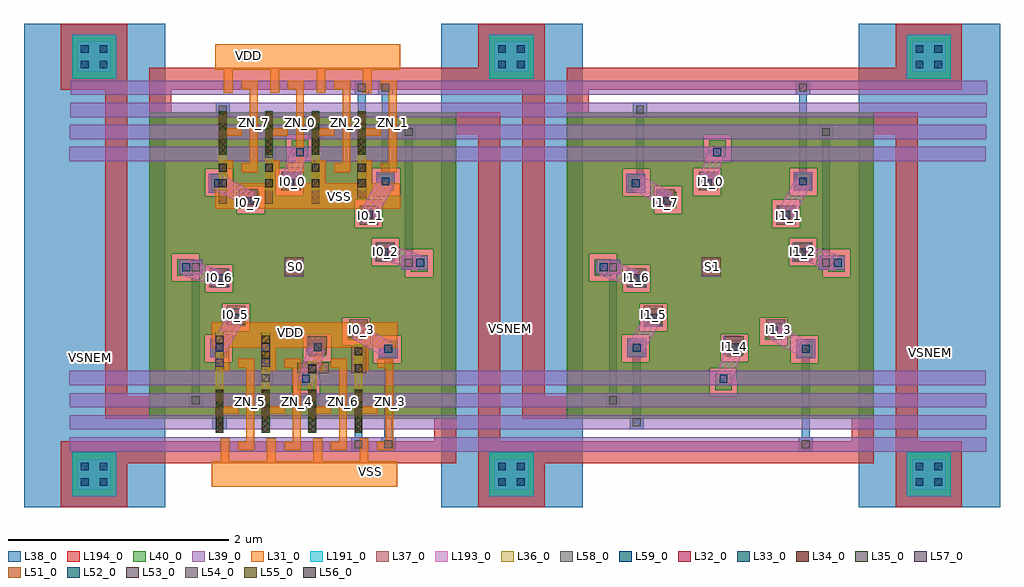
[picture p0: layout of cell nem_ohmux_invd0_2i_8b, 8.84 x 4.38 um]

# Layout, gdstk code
import gdstk
lib = gdstk.Library(unit=1e-6, precision=1e-09)
def R(c, l, rs):  # rectangles x0, y0, x1, y1
    for r in rs: c.add(gdstk.rectangle(r[:2], r[2:], *l))
def A(c, l, x, y, w, h, nx, ny, dx, dy):  # array of equal rectangles
    R(c, l, [(x+i*dx, y+j*dy, x+i*dx+w, y+j*dy+h) for i in range(nx) for j in range(ny)])
def P(c, l, *ps):  # polygons
    for p in ps: c.add(gdstk.Polygon(p, *l))
L31_0 = (31, 0)
L32_0 = (32, 0)
L33_0 = (33, 0)
L34_0 = (34, 0)
L35_0 = (35, 0)
L36_0 = (36, 0)
L37_0 = (37, 0)
L38_0 = (38, 0)
L39_0 = (39, 0)
L40_0 = (40, 0)
L51_0 = (51, 0)
L52_0 = (52, 0)
L53_0 = (53, 0)
L54_0 = (54, 0)
L55_0 = (55, 0)
L56_0 = (56, 0)
L57_0 = (57, 0)
L58_0 = (58, 0)
L59_0 = (59, 0)
L191_0 = (191, 0)
L193_0 = (193, 0)
L194_0 = (194, 0)

top = lib.new_cell('TOP')
R(top, L40_0, [(-2.09,-2.09,-1.69,-1.69), (1.69,-2.09,2.09,-1.69), (-0.046,-1.129,0.104,-0.979), (0.69,-0.836,0.84,-0.686), (-0.84,-0.827,-0.69,-0.677), (0.056,-0.822,0.206,-0.672), (0.408,-0.673,0.558,-0.523), (-0.68,-0.547,-0.53,-0.397), (-0.833,-0.192,-0.683,-0.042), (-1.137,-0.094,-0.987,0.056), (0.98,-0.055,1.13,0.095), (0.675,0.046,0.825,0.196), (0.522,0.394,0.672,0.544), (-0.546,0.518,-0.396,0.668), (-0.832,0.676,-0.682,0.826), (-0.195,0.68,-0.045,0.83), (0.681,0.683,0.831,0.833), (-0.099,0.983,0.051,1.133), (-2.09,1.69,-1.69,2.09), (1.69,1.69,2.09,2.09)])
P(top, L40_0, [(-1.39,-1.39),(-1.39,-0.929),(-0.096,-0.929),(-0.096,-1.179),(0.154,-1.179),(0.154,-1.03),(0.145,-1.03),(0.145,-0.93),(0.154,-0.93),(0.154,-0.929),(-1.39,-0.929),(-1.39,-0.627),(-0.89,-0.627),(-0.89,-0.877),(-0.64,-0.877),(-0.64,-0.627),(-1.39,-0.627),(-1.39,-0.622),(0.006,-0.622),(0.006,-0.872),(0.256,-0.872),(0.256,-0.622),(-1.39,-0.622),(-1.39,-0.347),(-0.73,-0.347),(-0.73,-0.597),(-0.48,-0.597),(-0.48,-0.473),(0.358,-0.473),(0.358,-0.723),(0.608,-0.723),(0.608,-0.636),(0.64,-0.636),(0.64,-0.886),(0.89,-0.886),(0.89,-0.636),(0.608,-0.636),(0.608,-0.473),(-0.48,-0.473),(-0.48,-0.347),(-1.39,-0.347),(-1.39,0.106),(-1.187,0.106),(-1.187,-0.144),(-0.937,-0.144),(-0.937,0.008),(-0.883,0.008),(-0.883,-0.242),(-0.633,-0.242),(-0.633,0.008),(-0.937,0.008),(-0.937,0.106),(-1.39,0.106),(-1.39,0.246),(0.625,0.246),(0.625,-0.004),(0.875,-0.004),(0.875,0.145),(0.93,0.145),(0.93,-0.105),(1.18,-0.105),(1.18,0.145),(0.875,0.145),(0.875,0.246),(-1.39,0.246),(-1.39,0.876),(-0.882,0.876),(-0.882,0.626),(-0.632,0.626),(-0.632,0.718),(-0.596,0.718),(-0.596,0.468),(-0.346,0.468),(-0.346,0.594),(0.472,0.594),(0.472,0.344),(0.722,0.344),(0.722,0.594),(-0.346,0.594),(-0.346,0.718),(-0.632,0.718),(-0.632,0.876),(-1.39,0.876),(-1.39,0.88),(-0.245,0.88),(-0.245,0.63),(0.005,0.63),(0.005,0.88),(-1.39,0.88),(-1.39,0.883),(0.631,0.883),(0.631,0.633),(0.881,0.633),(0.881,0.883),(-1.39,0.883),(-1.39,1.183),(-0.149,1.183),(-0.149,1.03),(-0.145,1.03),(-0.145,0.933),(0.101,0.933),(0.101,1.183),(-1.39,1.183),(-1.39,1.39),(1.39,1.39),(1.39,-1.39)])
R(top, L191_0, [(-2.09,-2.09,-1.69,-1.69), (1.69,-2.09,2.09,-1.69), (-2.09,1.69,-1.69,2.09), (1.69,1.69,2.09,2.09)])
P(top, L193_0, [(-0.507,0.528),(-0.793,0.685),(-0.721,0.816),(-0.435,0.659)],
  [(-0.049,0.732),(-0.192,0.777),(-0.095,1.08),(0.048,1.035)],
  [(0.664,0.433),(0.532,0.505),(0.69,0.793),(0.822,0.721)],
  [(1.032,-0.051),(0.727,0.05),(0.774,0.193),(1.079,0.092)],
  [(0.727,-0.825),(0.446,-0.663),(0.521,-0.533),(0.802,-0.695)],
  [(0.1,-1.076),(-0.042,-1.029),(0.06,-0.724),(0.202,-0.771)],
  [(-0.7,-0.789),(-0.83,-0.715),(-0.67,-0.435),(-0.54,-0.509)],
  [(-0.782,-0.188),(-1.084,-0.091),(-1.038,0.052),(-0.736,-0.045)])
P(top, L194_0, [(-2.19,-2.19),(-2.19,-1.59),(1.19,-1.59),(1.19,-1.39),(-1.79,-1.39),(-1.79,1.59),(-2.19,1.59),(-2.19,2.19),(-1.59,2.19),(-1.59,-1.19),(-1.39,-1.19),(-1.39,1.79),(1.59,1.79),(1.59,2.19),(2.19,2.19),(2.19,1.59),(-1.19,1.59),(-1.19,1.39),(1.79,1.39),(1.79,-1.59),(2.19,-1.59),(2.19,-2.19),(1.59,-2.19),(1.59,1.19),(1.39,1.19),(1.39,-1.79),(-1.59,-1.79),(-1.59,-2.19)])

invd0bwp = lib.new_cell('INVD0BWP')
R(invd0bwp, L31_0, [(0,-0.115,0.08,0.115), (0.08,-0.115,0.16,0.325), (0.16,-0.115,0.42,0.115), (0.24,0.215,0.315,0.295), (0.315,0.215,0.385,1.045), (0.035,0.495,0.105,0.765), (0.105,0.545,0.24,0.615), (0.08,0.935,0.16,1.375), (0.24,0.965,0.315,1.045), (0,1.145,0.08,1.375), (0.16,1.145,0.42,1.375)])
invd0bwp.add(gdstk.Label('VDD', (0,1.145), layer=230, texttype=0))
invd0bwp.add(gdstk.Label('VDD', (0.08,0.935), layer=230, texttype=0))
invd0bwp.add(gdstk.Label('VDD', (0.16,1.145), layer=230, texttype=0))
invd0bwp.add(gdstk.Label('VSS', (0,-0.115), layer=230, texttype=0))
invd0bwp.add(gdstk.Label('VSS', (0.08,-0.115), layer=230, texttype=0))
invd0bwp.add(gdstk.Label('VSS', (0.16,-0.115), layer=230, texttype=0))
invd0bwp.add(gdstk.Label('I', (0.035,0.495), layer=230, texttype=0))
invd0bwp.add(gdstk.Label('I', (0.105,0.545), layer=230, texttype=0))
invd0bwp.add(gdstk.Label('ZN', (0.24,0.965), layer=230, texttype=0))
invd0bwp.add(gdstk.Label('ZN', (0.24,0.215), layer=230, texttype=0))
invd0bwp.add(gdstk.Label('ZN', (0.315,0.215), layer=230, texttype=0))

m9_m8_cdns_610855237610 = lib.new_cell('M9_M8_CDNS_610855237610')
R(m9_m8_cdns_610855237610, L38_0, [(-0.085,-0.085,0.085,0.085)])
R(m9_m8_cdns_610855237610, L39_0, [(-0.085,-0.085,0.085,0.085)])
R(m9_m8_cdns_610855237610, L58_0, [(-0.035,-0.035,0.035,0.035)])

m10_m9_cdns_610855237611 = lib.new_cell('M10_M9_CDNS_610855237611')
R(m10_m9_cdns_610855237611, L39_0, [(-0.085,-0.085,0.085,0.085)])
R(m10_m9_cdns_610855237611, L40_0, [(-0.065,-0.065,0.065,0.065)])
R(m10_m9_cdns_610855237611, L59_0, [(-0.035,-0.035,0.035,0.035)])

m8_m7_cdns_610855237612 = lib.new_cell('M8_M7_CDNS_610855237612')
R(m8_m7_cdns_610855237612, L37_0, [(-0.065,-0.065,0.065,0.065)])
R(m8_m7_cdns_610855237612, L38_0, [(-0.085,-0.085,0.085,0.085)])
R(m8_m7_cdns_610855237612, L57_0, [(-0.035,-0.035,0.035,0.035)])

m10_m9_cdns_610855237613 = lib.new_cell('M10_M9_CDNS_610855237613')
R(m10_m9_cdns_610855237613, L39_0, [(-0.065,-0.065,0.065,0.065)])
R(m10_m9_cdns_610855237613, L40_0, [(-0.065,-0.065,0.065,0.065)])
R(m10_m9_cdns_610855237613, L59_0, [(-0.035,-0.035,0.035,0.035)])

m9_m8_cdns_610855237614 = lib.new_cell('M9_M8_CDNS_610855237614')
R(m9_m8_cdns_610855237614, L38_0, [(-0.065,-0.065,0.065,0.065)])
R(m9_m8_cdns_610855237614, L39_0, [(-0.065,-0.065,0.065,0.065)])
R(m9_m8_cdns_610855237614, L58_0, [(-0.035,-0.035,0.035,0.035)])

m9_m8_cdns_610855237615 = lib.new_cell('M9_M8_CDNS_610855237615')
R(m9_m8_cdns_610855237615, L38_0, [(-0.065,-0.065,0.065,0.065)])
R(m9_m8_cdns_610855237615, L39_0, [(-0.085,-0.085,0.085,0.085)])
R(m9_m8_cdns_610855237615, L58_0, [(-0.035,-0.035,0.035,0.035)])

m8_m7_cdns_610855237616 = lib.new_cell('M8_M7_CDNS_610855237616')
R(m8_m7_cdns_610855237616, L37_0, [(-0.065,-0.065,0.065,0.065)])
R(m8_m7_cdns_610855237616, L38_0, [(-0.065,-0.065,0.065,0.065)])
R(m8_m7_cdns_610855237616, L57_0, [(-0.035,-0.035,0.035,0.035)])

nem_ohmux_invd0_2i_8b = lib.new_cell('nem_ohmux_invd0_2i_8b')
A(nem_ohmux_invd0_2i_8b, L31_0, 2.015, 0.91, 0.07, 0.07, 4, 1, 0.42, 0)
A(nem_ohmux_invd0_2i_8b, L31_0, 2.045, 3.435, 0.07, 0.07, 4, 1, 0.42, 0)
R(nem_ohmux_invd0_2i_8b, L31_0, [(1.7,0.185,3.38,0.415), (1.7,1.445,3.38,1.675), (1.73,2.705,3.41,2.935), (1.73,3.965,3.41,4.195)])
A(nem_ohmux_invd0_2i_8b, L32_0, 1.735, 0.675, 0.07, 0.39, 4, 1, 0.42, 0)
A(nem_ohmux_invd0_2i_8b, L32_0, 1.765, 3.195, 0.07, 0.39, 4, 1, 0.42, 0)
A(nem_ohmux_invd0_2i_8b, L33_0, 1.735, 0.675, 0.07, 0.39, 4, 1, 0.42, 0)
A(nem_ohmux_invd0_2i_8b, L33_0, 1.765, 3.195, 0.07, 0.39, 4, 1, 0.42, 0)
A(nem_ohmux_invd0_2i_8b, L34_0, 1.735, 0.675, 0.07, 0.39, 4, 1, 0.42, 0)
A(nem_ohmux_invd0_2i_8b, L34_0, 1.765, 3.195, 0.07, 0.39, 4, 1, 0.42, 0)
A(nem_ohmux_invd0_2i_8b, L35_0, 1.735, 0.675, 0.07, 0.39, 4, 1, 0.42, 0)
A(nem_ohmux_invd0_2i_8b, L35_0, 1.765, 3.195, 0.07, 0.39, 4, 1, 0.42, 0)
A(nem_ohmux_invd0_2i_8b, L36_0, 1.765, 2.87, 0.07, 0.715, 4, 1, 0.42, 0)
R(nem_ohmux_invd0_2i_8b, L36_0, [(1.735,0.795,1.805,1.585), (2.155,0.795,2.225,1.585), (2.575,0.795,2.645,1.325), (2.995,0.795,3.065,1.475)])
A(nem_ohmux_invd0_2i_8b, L37_0, 1.765, 2.75, 0.07, 0.39, 3, 1, 0.42, 0)
R(nem_ohmux_invd0_2i_8b, L37_0, [(2.475,1.215,2.76,1.31), (2.965,1.215,3.1,1.455), (1.73,1.245,1.81,1.585), (2.15,1.245,2.23,1.585), (2.57,1.38,2.74,1.55), (6.35,1.38,6.52,1.55), (2.945,1.535,3.115,1.705), (6.725,1.535,6.895,1.705), (1.835,1.655,2.005,1.825), (5.615,1.655,5.785,1.825), (1.68,1.995,1.85,2.165), (5.46,1.995,5.63,2.165), (2.36,2.095,2.53,2.265), (6.14,2.095,6.31,2.265), (3.19,2.23,3.36,2.4), (6.97,2.23,7.14,2.4), (3.04,2.56,3.21,2.73), (6.82,2.56,6.99,2.73), (1.945,2.71,2.115,2.88), (5.725,2.71,5.895,2.88), (3.02,2.8,3.1,3.14), (2.335,2.87,2.505,3.04), (6.115,2.87,6.285,3.04)])
R(nem_ohmux_invd0_2i_8b, L38_0, [(0,0,1.28,4.38), (3.78,0,5.06,4.38), (3.78,0,5.06,4.38), (7.56,0,8.84,4.38), (2.995,0.505,3.065,1.465), (3.265,0.505,3.335,1.4), (7.045,0.505,7.115,1.4), (1.735,0.705,1.805,1.41), (5.515,0.705,5.585,1.41), (1.52,0.905,1.59,2.14), (5.3,0.905,5.37,2.14), (2.575,1.035,2.645,1.315), (2.155,1.105,2.225,1.515), (2.555,1.385,2.725,1.555), (6.335,1.385,6.505,1.555), (2.945,1.535,3.115,1.705), (6.725,1.535,6.895,1.705), (3.45,2.25,3.52,3.365), (7.23,2.25,7.3,3.365), (1.945,2.71,2.115,2.88), (5.725,2.71,5.895,2.88), (1.765,2.87,1.835,3.665), (2.185,2.87,2.255,3.265), (2.335,2.87,2.505,3.04), (2.605,2.87,2.675,3.465), (3.025,2.87,3.095,3.865), (5.545,2.87,5.615,3.665), (6.115,2.87,6.285,3.04), (3.24,2.985,3.31,3.865), (7.02,2.985,7.09,3.865)])
A(nem_ohmux_invd0_2i_8b, L39_0, 0.415, 0.505, 4.52, 0.13, 1, 3, 0, 0.2)
A(nem_ohmux_invd0_2i_8b, L39_0, 4.195, 0.505, 4.52, 0.13, 1, 3, 0, 0.2)
R(nem_ohmux_invd0_2i_8b, L39_0, [(0.485,0.165,0.785,0.435), (4.265,0.165,4.565,0.435), (4.265,0.165,4.565,0.435), (8.045,0.165,8.345,0.435), (0.41,1.105,4.93,1.235), (4.19,1.105,8.71,1.235), (2.555,1.385,2.725,1.555), (6.335,1.385,6.505,1.555), (2.945,1.535,3.115,1.705), (6.725,1.535,6.895,1.705), (1.945,2.71,2.115,2.88), (5.725,2.71,5.895,2.88), (2.335,2.87,2.505,3.04), (6.115,2.87,6.285,3.04), (0.41,3.135,4.93,3.265), (4.19,3.135,8.71,3.265), (0.415,3.335,4.935,3.465), (4.195,3.335,8.715,3.465), (0.42,3.535,4.94,3.665), (4.2,3.535,8.72,3.665), (0.425,3.735,4.945,3.865), (4.205,3.735,8.725,3.865), (0.485,3.945,0.785,4.215), (4.265,3.945,4.565,4.215), (4.265,3.945,4.565,4.215), (8.045,3.945,8.345,4.215)])
A(nem_ohmux_invd0_2i_8b, L51_0, 1.735, 0.825, 0.07, 0.07, 4, 2, 0.42, 0.14)
A(nem_ohmux_invd0_2i_8b, L51_0, 1.765, 3.345, 0.07, 0.07, 4, 2, 0.42, 0.14)
A(nem_ohmux_invd0_2i_8b, L52_0, 1.735, 0.825, 0.07, 0.07, 4, 2, 0.42, 0.14)
A(nem_ohmux_invd0_2i_8b, L52_0, 1.765, 3.345, 0.07, 0.07, 4, 2, 0.42, 0.14)
A(nem_ohmux_invd0_2i_8b, L53_0, 1.735, 0.825, 0.07, 0.07, 4, 2, 0.42, 0.14)
A(nem_ohmux_invd0_2i_8b, L53_0, 1.765, 3.345, 0.07, 0.07, 4, 2, 0.42, 0.14)
A(nem_ohmux_invd0_2i_8b, L54_0, 1.735, 0.825, 0.07, 0.07, 4, 2, 0.42, 0.14)
A(nem_ohmux_invd0_2i_8b, L54_0, 1.765, 3.345, 0.07, 0.07, 4, 2, 0.42, 0.14)
A(nem_ohmux_invd0_2i_8b, L55_0, 1.735, 0.825, 0.07, 0.07, 4, 2, 0.42, 0.14)
A(nem_ohmux_invd0_2i_8b, L55_0, 1.765, 3.345, 0.07, 0.07, 4, 2, 0.42, 0.14)
A(nem_ohmux_invd0_2i_8b, L56_0, 1.765, 2.9, 0.07, 0.07, 4, 2, 0.42, 0.14)
R(nem_ohmux_invd0_2i_8b, L56_0, [(2.575,1.225,2.645,1.295), (2.995,1.225,3.065,1.295), (2.155,1.345,2.225,1.415), (2.995,1.375,3.065,1.445), (1.735,1.485,1.805,1.555), (2.155,1.485,2.225,1.555)])
A(nem_ohmux_invd0_2i_8b, L57_0, 1.765, 2.9, 0.07, 0.07, 4, 2, 0.42, 0.14)
R(nem_ohmux_invd0_2i_8b, L57_0, [(2.575,1.215,2.645,1.285), (2.995,1.225,3.065,1.295), (1.735,1.275,1.805,1.345), (2.155,1.275,2.225,1.345), (2.995,1.375,3.065,1.445), (1.735,1.415,1.805,1.485), (2.155,1.415,2.225,1.485)])
R(nem_ohmux_invd0_2i_8b, L59_0, [(2.52,1.13,2.59,1.2), (6.3,1.13,6.37,1.2), (2.465,3.18,2.535,3.25), (6.245,3.18,6.315,3.25)])
nem_ohmux_invd0_2i_8b.add(gdstk.Reference(top, (6.305,2.19)))
nem_ohmux_invd0_2i_8b.add(gdstk.Reference(top, (2.525,2.19)))
nem_ohmux_invd0_2i_8b.add(gdstk.Reference(invd0bwp, (2.96,0.3)))
nem_ohmux_invd0_2i_8b.add(gdstk.Reference(invd0bwp, (2.54,0.3)))
nem_ohmux_invd0_2i_8b.add(gdstk.Reference(invd0bwp, (1.7,0.3)))
nem_ohmux_invd0_2i_8b.add(gdstk.Reference(invd0bwp, (2.12,0.3)))
nem_ohmux_invd0_2i_8b.add(gdstk.Reference(invd0bwp, (1.73,2.82)))
nem_ohmux_invd0_2i_8b.add(gdstk.Reference(invd0bwp, (2.15,2.82)))
nem_ohmux_invd0_2i_8b.add(gdstk.Reference(invd0bwp, (2.57,2.82)))
nem_ohmux_invd0_2i_8b.add(gdstk.Reference(invd0bwp, (2.99,2.82)))
nem_ohmux_invd0_2i_8b.add(gdstk.Reference(m9_m8_cdns_610855237610, (5.555,2.075)))
nem_ohmux_invd0_2i_8b.add(gdstk.Reference(m9_m8_cdns_610855237610, (5.7,1.72)))
nem_ohmux_invd0_2i_8b.add(gdstk.Reference(m9_m8_cdns_610855237610, (6.225,2.175)))
nem_ohmux_invd0_2i_8b.add(gdstk.Reference(m9_m8_cdns_610855237610, (7.045,2.31)))
nem_ohmux_invd0_2i_8b.add(gdstk.Reference(m9_m8_cdns_610855237610, (6.905,2.65)))
nem_ohmux_invd0_2i_8b.add(gdstk.Reference(m9_m8_cdns_610855237610, (2.445,2.175)))
nem_ohmux_invd0_2i_8b.add(gdstk.Reference(m9_m8_cdns_610855237610, (1.775,2.075)))
nem_ohmux_invd0_2i_8b.add(gdstk.Reference(m9_m8_cdns_610855237610, (1.92,1.72)))
nem_ohmux_invd0_2i_8b.add(gdstk.Reference(m9_m8_cdns_610855237610, (3.265,2.31)))
nem_ohmux_invd0_2i_8b.add(gdstk.Reference(m9_m8_cdns_610855237610, (3.125,2.65)))
nem_ohmux_invd0_2i_8b.add(gdstk.Reference(m10_m9_cdns_610855237611, (5.555,2.075)))
nem_ohmux_invd0_2i_8b.add(gdstk.Reference(m10_m9_cdns_610855237611, (5.7,1.72)))
nem_ohmux_invd0_2i_8b.add(gdstk.Reference(m10_m9_cdns_610855237611, (6.225,2.175)))
nem_ohmux_invd0_2i_8b.add(gdstk.Reference(m10_m9_cdns_610855237611, (7.045,2.31)))
nem_ohmux_invd0_2i_8b.add(gdstk.Reference(m10_m9_cdns_610855237611, (6.905,2.65)))
nem_ohmux_invd0_2i_8b.add(gdstk.Reference(m10_m9_cdns_610855237611, (5.54,2.935)))
nem_ohmux_invd0_2i_8b.add(gdstk.Reference(m10_m9_cdns_610855237611, (7.08,1.435)))
nem_ohmux_invd0_2i_8b.add(gdstk.Reference(m10_m9_cdns_610855237611, (7.055,2.95)))
nem_ohmux_invd0_2i_8b.add(gdstk.Reference(m10_m9_cdns_610855237611, (5.55,1.445)))
nem_ohmux_invd0_2i_8b.add(gdstk.Reference(m10_m9_cdns_610855237611, (2.445,2.175)))
nem_ohmux_invd0_2i_8b.add(gdstk.Reference(m10_m9_cdns_610855237611, (1.76,2.935)))
nem_ohmux_invd0_2i_8b.add(gdstk.Reference(m10_m9_cdns_610855237611, (3.275,2.95)))
nem_ohmux_invd0_2i_8b.add(gdstk.Reference(m10_m9_cdns_610855237611, (1.77,1.445)))
nem_ohmux_invd0_2i_8b.add(gdstk.Reference(m10_m9_cdns_610855237611, (3.3,1.435)))
nem_ohmux_invd0_2i_8b.add(gdstk.Reference(m10_m9_cdns_610855237611, (1.775,2.075)))
nem_ohmux_invd0_2i_8b.add(gdstk.Reference(m10_m9_cdns_610855237611, (1.92,1.72)))
nem_ohmux_invd0_2i_8b.add(gdstk.Reference(m10_m9_cdns_610855237611, (3.265,2.31)))
nem_ohmux_invd0_2i_8b.add(gdstk.Reference(m10_m9_cdns_610855237611, (3.125,2.65)))
nem_ohmux_invd0_2i_8b.add(gdstk.Reference(m8_m7_cdns_610855237612, (5.7,1.72)))
nem_ohmux_invd0_2i_8b.add(gdstk.Reference(m8_m7_cdns_610855237612, (5.555,2.075)))
nem_ohmux_invd0_2i_8b.add(gdstk.Reference(m8_m7_cdns_610855237612, (6.225,2.175)))
nem_ohmux_invd0_2i_8b.add(gdstk.Reference(m8_m7_cdns_610855237612, (7.045,2.31)))
nem_ohmux_invd0_2i_8b.add(gdstk.Reference(m8_m7_cdns_610855237612, (6.905,2.65)))
nem_ohmux_invd0_2i_8b.add(gdstk.Reference(m8_m7_cdns_610855237612, (2.445,2.175)))
nem_ohmux_invd0_2i_8b.add(gdstk.Reference(m8_m7_cdns_610855237612, (1.775,2.075)))
nem_ohmux_invd0_2i_8b.add(gdstk.Reference(m8_m7_cdns_610855237612, (1.92,1.72)))
nem_ohmux_invd0_2i_8b.add(gdstk.Reference(m8_m7_cdns_610855237612, (3.265,2.31)))
nem_ohmux_invd0_2i_8b.add(gdstk.Reference(m8_m7_cdns_610855237612, (3.125,2.65)))
nem_ohmux_invd0_2i_8b.add(gdstk.Reference(m10_m9_cdns_610855237613, (5.825,2.775)))
nem_ohmux_invd0_2i_8b.add(gdstk.Reference(m10_m9_cdns_610855237613, (6.44,1.45)))
nem_ohmux_invd0_2i_8b.add(gdstk.Reference(m10_m9_cdns_610855237613, (6.195,2.935)))
nem_ohmux_invd0_2i_8b.add(gdstk.Reference(m10_m9_cdns_610855237613, (6.79,1.6)))
nem_ohmux_invd0_2i_8b.add(gdstk.Reference(m10_m9_cdns_610855237613, (4.33,4.01)))
nem_ohmux_invd0_2i_8b.add(gdstk.Reference(m10_m9_cdns_610855237613, (4.33,4.15)))
nem_ohmux_invd0_2i_8b.add(gdstk.Reference(m10_m9_cdns_610855237613, (4.33,0.37)))
nem_ohmux_invd0_2i_8b.add(gdstk.Reference(m10_m9_cdns_610855237613, (4.33,0.23)))
nem_ohmux_invd0_2i_8b.add(gdstk.Reference(m10_m9_cdns_610855237613, (4.5,4.15)))
nem_ohmux_invd0_2i_8b.add(gdstk.Reference(m10_m9_cdns_610855237613, (5.25,2.175)))
nem_ohmux_invd0_2i_8b.add(gdstk.Reference(m10_m9_cdns_610855237613, (4.5,0.37)))
nem_ohmux_invd0_2i_8b.add(gdstk.Reference(m10_m9_cdns_610855237613, (4.5,0.23)))
nem_ohmux_invd0_2i_8b.add(gdstk.Reference(m10_m9_cdns_610855237613, (4.5,4.01)))
nem_ohmux_invd0_2i_8b.add(gdstk.Reference(m10_m9_cdns_610855237613, (7.37,2.215)))
nem_ohmux_invd0_2i_8b.add(gdstk.Reference(m10_m9_cdns_610855237613, (8.11,0.23)))
nem_ohmux_invd0_2i_8b.add(gdstk.Reference(m10_m9_cdns_610855237613, (8.11,0.37)))
nem_ohmux_invd0_2i_8b.add(gdstk.Reference(m10_m9_cdns_610855237613, (8.11,4.15)))
nem_ohmux_invd0_2i_8b.add(gdstk.Reference(m10_m9_cdns_610855237613, (8.11,4.01)))
nem_ohmux_invd0_2i_8b.add(gdstk.Reference(m10_m9_cdns_610855237613, (8.28,0.37)))
nem_ohmux_invd0_2i_8b.add(gdstk.Reference(m10_m9_cdns_610855237613, (8.28,0.23)))
nem_ohmux_invd0_2i_8b.add(gdstk.Reference(m10_m9_cdns_610855237613, (8.28,4.01)))
nem_ohmux_invd0_2i_8b.add(gdstk.Reference(m10_m9_cdns_610855237613, (8.28,4.15)))
nem_ohmux_invd0_2i_8b.add(gdstk.Reference(m10_m9_cdns_610855237613, (3.59,2.215)))
nem_ohmux_invd0_2i_8b.add(gdstk.Reference(m10_m9_cdns_610855237613, (0.55,4.01)))
nem_ohmux_invd0_2i_8b.add(gdstk.Reference(m10_m9_cdns_610855237613, (0.55,4.15)))
nem_ohmux_invd0_2i_8b.add(gdstk.Reference(m10_m9_cdns_610855237613, (0.72,4.15)))
nem_ohmux_invd0_2i_8b.add(gdstk.Reference(m10_m9_cdns_610855237613, (0.72,4.01)))
nem_ohmux_invd0_2i_8b.add(gdstk.Reference(m10_m9_cdns_610855237613, (4.33,0.23)))
nem_ohmux_invd0_2i_8b.add(gdstk.Reference(m10_m9_cdns_610855237613, (4.33,0.37)))
nem_ohmux_invd0_2i_8b.add(gdstk.Reference(m10_m9_cdns_610855237613, (4.5,0.37)))
nem_ohmux_invd0_2i_8b.add(gdstk.Reference(m10_m9_cdns_610855237613, (4.5,0.23)))
nem_ohmux_invd0_2i_8b.add(gdstk.Reference(m10_m9_cdns_610855237613, (1.47,2.175)))
nem_ohmux_invd0_2i_8b.add(gdstk.Reference(m10_m9_cdns_610855237613, (4.5,4.01)))
nem_ohmux_invd0_2i_8b.add(gdstk.Reference(m10_m9_cdns_610855237613, (4.5,4.15)))
nem_ohmux_invd0_2i_8b.add(gdstk.Reference(m10_m9_cdns_610855237613, (4.33,4.15)))
nem_ohmux_invd0_2i_8b.add(gdstk.Reference(m10_m9_cdns_610855237613, (4.33,4.01)))
nem_ohmux_invd0_2i_8b.add(gdstk.Reference(m10_m9_cdns_610855237613, (0.72,0.23)))
nem_ohmux_invd0_2i_8b.add(gdstk.Reference(m10_m9_cdns_610855237613, (0.72,0.37)))
nem_ohmux_invd0_2i_8b.add(gdstk.Reference(m10_m9_cdns_610855237613, (0.55,0.37)))
nem_ohmux_invd0_2i_8b.add(gdstk.Reference(m10_m9_cdns_610855237613, (0.55,0.23)))
nem_ohmux_invd0_2i_8b.add(gdstk.Reference(m10_m9_cdns_610855237613, (2.66,1.45)))
nem_ohmux_invd0_2i_8b.add(gdstk.Reference(m10_m9_cdns_610855237613, (3.01,1.6)))
nem_ohmux_invd0_2i_8b.add(gdstk.Reference(m10_m9_cdns_610855237613, (2.415,2.935)))
nem_ohmux_invd0_2i_8b.add(gdstk.Reference(m10_m9_cdns_610855237613, (2.045,2.775)))
nem_ohmux_invd0_2i_8b.add(gdstk.Reference(m9_m8_cdns_610855237614, (7.265,2.215)))
nem_ohmux_invd0_2i_8b.add(gdstk.Reference(m9_m8_cdns_610855237614, (7.055,3.8)))
nem_ohmux_invd0_2i_8b.add(gdstk.Reference(m9_m8_cdns_610855237614, (5.825,2.775)))
nem_ohmux_invd0_2i_8b.add(gdstk.Reference(m9_m8_cdns_610855237614, (6.195,2.935)))
nem_ohmux_invd0_2i_8b.add(gdstk.Reference(m9_m8_cdns_610855237614, (6.44,1.45)))
nem_ohmux_invd0_2i_8b.add(gdstk.Reference(m9_m8_cdns_610855237614, (6.79,1.6)))
nem_ohmux_invd0_2i_8b.add(gdstk.Reference(m9_m8_cdns_610855237614, (4.33,4.01)))
nem_ohmux_invd0_2i_8b.add(gdstk.Reference(m9_m8_cdns_610855237614, (4.33,4.15)))
nem_ohmux_invd0_2i_8b.add(gdstk.Reference(m9_m8_cdns_610855237614, (4.33,0.37)))
nem_ohmux_invd0_2i_8b.add(gdstk.Reference(m9_m8_cdns_610855237614, (4.33,0.23)))
nem_ohmux_invd0_2i_8b.add(gdstk.Reference(m9_m8_cdns_610855237614, (4.5,4.15)))
nem_ohmux_invd0_2i_8b.add(gdstk.Reference(m9_m8_cdns_610855237614, (4.5,0.37)))
nem_ohmux_invd0_2i_8b.add(gdstk.Reference(m9_m8_cdns_610855237614, (4.5,0.23)))
nem_ohmux_invd0_2i_8b.add(gdstk.Reference(m9_m8_cdns_610855237614, (4.5,4.01)))
nem_ohmux_invd0_2i_8b.add(gdstk.Reference(m9_m8_cdns_610855237614, (8.11,0.23)))
nem_ohmux_invd0_2i_8b.add(gdstk.Reference(m9_m8_cdns_610855237614, (8.11,0.37)))
nem_ohmux_invd0_2i_8b.add(gdstk.Reference(m9_m8_cdns_610855237614, (8.11,4.15)))
nem_ohmux_invd0_2i_8b.add(gdstk.Reference(m9_m8_cdns_610855237614, (8.11,4.01)))
nem_ohmux_invd0_2i_8b.add(gdstk.Reference(m9_m8_cdns_610855237614, (8.28,0.37)))
nem_ohmux_invd0_2i_8b.add(gdstk.Reference(m9_m8_cdns_610855237614, (8.28,0.23)))
nem_ohmux_invd0_2i_8b.add(gdstk.Reference(m9_m8_cdns_610855237614, (8.28,4.01)))
nem_ohmux_invd0_2i_8b.add(gdstk.Reference(m9_m8_cdns_610855237614, (8.28,4.15)))
nem_ohmux_invd0_2i_8b.add(gdstk.Reference(m9_m8_cdns_610855237614, (5.335,2.175)))
nem_ohmux_invd0_2i_8b.add(gdstk.Reference(m9_m8_cdns_610855237614, (5.335,0.97)))
nem_ohmux_invd0_2i_8b.add(gdstk.Reference(m9_m8_cdns_610855237614, (5.55,0.77)))
nem_ohmux_invd0_2i_8b.add(gdstk.Reference(m9_m8_cdns_610855237614, (5.58,3.6)))
nem_ohmux_invd0_2i_8b.add(gdstk.Reference(m9_m8_cdns_610855237614, (7.08,0.57)))
nem_ohmux_invd0_2i_8b.add(gdstk.Reference(m9_m8_cdns_610855237614, (7.265,3.4)))
nem_ohmux_invd0_2i_8b.add(gdstk.Reference(m9_m8_cdns_610855237614, (3.03,0.57)))
nem_ohmux_invd0_2i_8b.add(gdstk.Reference(m9_m8_cdns_610855237614, (2.61,0.97)))
nem_ohmux_invd0_2i_8b.add(gdstk.Reference(m9_m8_cdns_610855237614, (2.19,1.17)))
nem_ohmux_invd0_2i_8b.add(gdstk.Reference(m9_m8_cdns_610855237614, (3.06,3.8)))
nem_ohmux_invd0_2i_8b.add(gdstk.Reference(m9_m8_cdns_610855237614, (2.64,3.4)))
nem_ohmux_invd0_2i_8b.add(gdstk.Reference(m9_m8_cdns_610855237614, (2.22,3.2)))
nem_ohmux_invd0_2i_8b.add(gdstk.Reference(m9_m8_cdns_610855237614, (1.8,3.6)))
nem_ohmux_invd0_2i_8b.add(gdstk.Reference(m9_m8_cdns_610855237614, (3.275,3.8)))
nem_ohmux_invd0_2i_8b.add(gdstk.Reference(m9_m8_cdns_610855237614, (3.485,3.4)))
nem_ohmux_invd0_2i_8b.add(gdstk.Reference(m9_m8_cdns_610855237614, (3.485,2.215)))
nem_ohmux_invd0_2i_8b.add(gdstk.Reference(m9_m8_cdns_610855237614, (3.3,0.57)))
nem_ohmux_invd0_2i_8b.add(gdstk.Reference(m9_m8_cdns_610855237614, (0.55,4.01)))
nem_ohmux_invd0_2i_8b.add(gdstk.Reference(m9_m8_cdns_610855237614, (0.55,4.15)))
nem_ohmux_invd0_2i_8b.add(gdstk.Reference(m9_m8_cdns_610855237614, (0.72,4.15)))
nem_ohmux_invd0_2i_8b.add(gdstk.Reference(m9_m8_cdns_610855237614, (0.72,4.01)))
nem_ohmux_invd0_2i_8b.add(gdstk.Reference(m9_m8_cdns_610855237614, (4.33,0.23)))
nem_ohmux_invd0_2i_8b.add(gdstk.Reference(m9_m8_cdns_610855237614, (4.33,0.37)))
nem_ohmux_invd0_2i_8b.add(gdstk.Reference(m9_m8_cdns_610855237614, (4.5,0.37)))
nem_ohmux_invd0_2i_8b.add(gdstk.Reference(m9_m8_cdns_610855237614, (4.5,0.23)))
nem_ohmux_invd0_2i_8b.add(gdstk.Reference(m9_m8_cdns_610855237614, (1.555,2.175)))
nem_ohmux_invd0_2i_8b.add(gdstk.Reference(m9_m8_cdns_610855237614, (1.77,0.77)))
nem_ohmux_invd0_2i_8b.add(gdstk.Reference(m9_m8_cdns_610855237614, (1.555,0.97)))
nem_ohmux_invd0_2i_8b.add(gdstk.Reference(m9_m8_cdns_610855237614, (4.5,4.01)))
nem_ohmux_invd0_2i_8b.add(gdstk.Reference(m9_m8_cdns_610855237614, (4.5,4.15)))
nem_ohmux_invd0_2i_8b.add(gdstk.Reference(m9_m8_cdns_610855237614, (4.33,4.15)))
nem_ohmux_invd0_2i_8b.add(gdstk.Reference(m9_m8_cdns_610855237614, (4.33,4.01)))
nem_ohmux_invd0_2i_8b.add(gdstk.Reference(m9_m8_cdns_610855237614, (0.72,0.23)))
nem_ohmux_invd0_2i_8b.add(gdstk.Reference(m9_m8_cdns_610855237614, (0.72,0.37)))
nem_ohmux_invd0_2i_8b.add(gdstk.Reference(m9_m8_cdns_610855237614, (0.55,0.37)))
nem_ohmux_invd0_2i_8b.add(gdstk.Reference(m9_m8_cdns_610855237614, (0.55,0.23)))
nem_ohmux_invd0_2i_8b.add(gdstk.Reference(m9_m8_cdns_610855237614, (2.66,1.45)))
nem_ohmux_invd0_2i_8b.add(gdstk.Reference(m9_m8_cdns_610855237614, (3.01,1.6)))
nem_ohmux_invd0_2i_8b.add(gdstk.Reference(m9_m8_cdns_610855237614, (2.415,2.935)))
nem_ohmux_invd0_2i_8b.add(gdstk.Reference(m9_m8_cdns_610855237614, (2.045,2.775)))
nem_ohmux_invd0_2i_8b.add(gdstk.Reference(m9_m8_cdns_610855237615, (7.08,1.435)))
nem_ohmux_invd0_2i_8b.add(gdstk.Reference(m9_m8_cdns_610855237615, (7.055,2.95)))
nem_ohmux_invd0_2i_8b.add(gdstk.Reference(m9_m8_cdns_610855237615, (5.55,1.445)))
nem_ohmux_invd0_2i_8b.add(gdstk.Reference(m9_m8_cdns_610855237615, (5.54,2.935)))
nem_ohmux_invd0_2i_8b.add(gdstk.Reference(m9_m8_cdns_610855237615, (1.76,2.935)))
nem_ohmux_invd0_2i_8b.add(gdstk.Reference(m9_m8_cdns_610855237615, (3.275,2.95)))
nem_ohmux_invd0_2i_8b.add(gdstk.Reference(m9_m8_cdns_610855237615, (1.77,1.445)))
nem_ohmux_invd0_2i_8b.add(gdstk.Reference(m9_m8_cdns_610855237615, (3.3,1.435)))
nem_ohmux_invd0_2i_8b.add(gdstk.Reference(m8_m7_cdns_610855237616, (5.825,2.775)))
nem_ohmux_invd0_2i_8b.add(gdstk.Reference(m8_m7_cdns_610855237616, (6.195,2.935)))
nem_ohmux_invd0_2i_8b.add(gdstk.Reference(m8_m7_cdns_610855237616, (6.44,1.45)))
nem_ohmux_invd0_2i_8b.add(gdstk.Reference(m8_m7_cdns_610855237616, (6.79,1.6)))
nem_ohmux_invd0_2i_8b.add(gdstk.Reference(m8_m7_cdns_610855237616, (2.66,1.45)))
nem_ohmux_invd0_2i_8b.add(gdstk.Reference(m8_m7_cdns_610855237616, (3.01,1.6)))
nem_ohmux_invd0_2i_8b.add(gdstk.Reference(m8_m7_cdns_610855237616, (2.415,2.935)))
nem_ohmux_invd0_2i_8b.add(gdstk.Reference(m8_m7_cdns_610855237616, (2.045,2.775)))
nem_ohmux_invd0_2i_8b.add(gdstk.Label('VDD', (2.415,1.585), layer=31, texttype=0))
nem_ohmux_invd0_2i_8b.add(gdstk.Label('VDD', (2.035,4.095), layer=31, texttype=0))
nem_ohmux_invd0_2i_8b.add(gdstk.Label('VSS', (2.855,2.815), layer=31, texttype=0))
nem_ohmux_invd0_2i_8b.add(gdstk.Label('ZN_3', (3.315,0.96), layer=31, texttype=0))
nem_ohmux_invd0_2i_8b.add(gdstk.Label('ZN_6', (2.895,0.96), layer=31, texttype=0))
nem_ohmux_invd0_2i_8b.add(gdstk.Label('ZN_4', (2.475,0.96), layer=31, texttype=0))
nem_ohmux_invd0_2i_8b.add(gdstk.Label('ZN_5', (2.055,0.96), layer=31, texttype=0))
nem_ohmux_invd0_2i_8b.add(gdstk.Label('ZN_1', (3.345,3.485), layer=31, texttype=0))
nem_ohmux_invd0_2i_8b.add(gdstk.Label('ZN_2', (2.925,3.485), layer=31, texttype=0))
nem_ohmux_invd0_2i_8b.add(gdstk.Label('ZN_0', (2.505,3.485), layer=31, texttype=0))
nem_ohmux_invd0_2i_8b.add(gdstk.Label('ZN_7', (2.085,3.485), layer=31, texttype=0))
nem_ohmux_invd0_2i_8b.add(gdstk.Label('VSS', (3.14,0.32), layer=31, texttype=0))
nem_ohmux_invd0_2i_8b.add(gdstk.Label('I1_4', (6.435,1.46), layer=37, texttype=0))
nem_ohmux_invd0_2i_8b.add(gdstk.Label('I1_0', (6.215,2.95), layer=37, texttype=0))
nem_ohmux_invd0_2i_8b.add(gdstk.Label('I1_1', (6.92,2.645), layer=37, texttype=0))
nem_ohmux_invd0_2i_8b.add(gdstk.Label('I1_3', (6.835,1.61), layer=37, texttype=0))
nem_ohmux_invd0_2i_8b.add(gdstk.Label('I1_2', (7.055,2.32), layer=37, texttype=0))
nem_ohmux_invd0_2i_8b.add(gdstk.Label('I1_5', (5.7,1.75), layer=37, texttype=0))
nem_ohmux_invd0_2i_8b.add(gdstk.Label('I1_6', (5.55,2.08), layer=37, texttype=0))
nem_ohmux_invd0_2i_8b.add(gdstk.Label('I1_7', (5.81,2.76), layer=37, texttype=0))
nem_ohmux_invd0_2i_8b.add(gdstk.Label('S1', (6.235,2.185), layer=37, texttype=0))
nem_ohmux_invd0_2i_8b.add(gdstk.Label('S0', (2.455,2.185), layer=37, texttype=0))
nem_ohmux_invd0_2i_8b.add(gdstk.Label('I0_6', (1.77,2.08), layer=37, texttype=0))
nem_ohmux_invd0_2i_8b.add(gdstk.Label('I0_5', (1.92,1.75), layer=37, texttype=0))
nem_ohmux_invd0_2i_8b.add(gdstk.Label('I0_4', (2.655,1.46), layer=37, texttype=0))
nem_ohmux_invd0_2i_8b.add(gdstk.Label('I0_3', (3.055,1.61), layer=37, texttype=0))
nem_ohmux_invd0_2i_8b.add(gdstk.Label('I0_2', (3.275,2.32), layer=37, texttype=0))
nem_ohmux_invd0_2i_8b.add(gdstk.Label('I0_1', (3.14,2.645), layer=37, texttype=0))
nem_ohmux_invd0_2i_8b.add(gdstk.Label('I0_0', (2.435,2.95), layer=37, texttype=0))
nem_ohmux_invd0_2i_8b.add(gdstk.Label('I0_7', (2.03,2.76), layer=37, texttype=0))
nem_ohmux_invd0_2i_8b.add(gdstk.Label('VSNEM', (0.605,1.355), layer=38, texttype=0))
nem_ohmux_invd0_2i_8b.add(gdstk.Label('VSNEM', (4.405,1.615), layer=38, texttype=0))
nem_ohmux_invd0_2i_8b.add(gdstk.Label('VSNEM', (8.215,1.405), layer=38, texttype=0))

lib.write_gds('nem_ohmux_invd0_2i_8b.gds')
